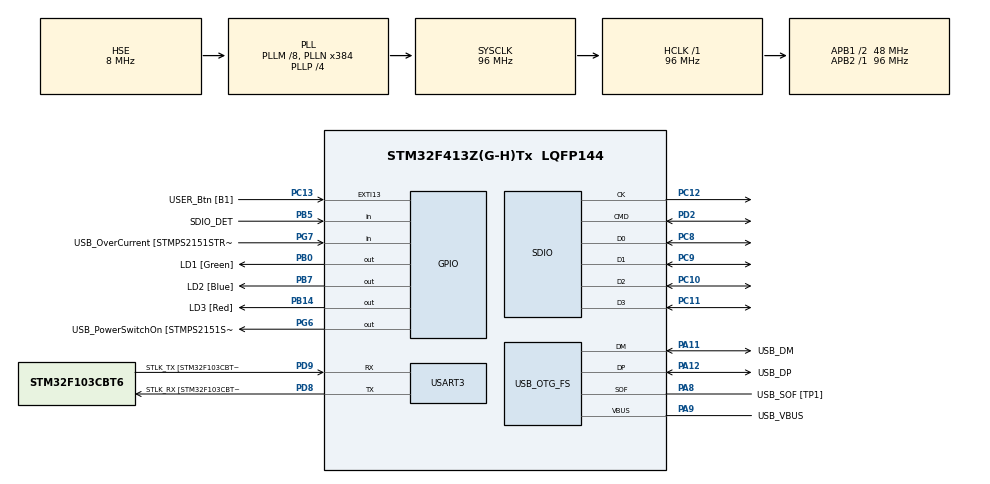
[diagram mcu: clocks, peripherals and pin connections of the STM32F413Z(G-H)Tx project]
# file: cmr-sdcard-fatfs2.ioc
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FATFS.BSP.number=1
FATFS._MAX_SS=4096
FATFS._USE_LFN=1
FATFS0.BSP.STBoard=false
FATFS0.BSP.api=Unknown
FATFS0.BSP.instance=PB5
FATFS0.BSP.ip=GPIO
FATFS0.BSP.mode=Input
FATFS0.BSP.name=Detect_SDIO
FATFS0.BSP.solution=PB5
Mcu.Family=STM32F4
Mcu.Name=STM32F413Z(G-H)Tx
Mcu.Package=LQFP144
NVIC.PriorityGroup=NVIC_PRIORITYGROUP_4
PA10.GPIO_Label=USB_ID
PA10.Signal=USB_OTG_FS_ID
PA11.GPIO_Label=USB_DM
PA11.Mode=Device_Only
PA11.Signal=USB_OTG_FS_DM
PA12.GPIO_Label=USB_DP
PA12.Mode=Device_Only
PA12.Signal=USB_OTG_FS_DP
PA13.GPIO_Label=TMS
PA13.Mode=Serial_Wire
PA13.Signal=SYS_JTMS-SWDIO
PA14.GPIO_Label=TCK
PA14.Mode=Serial_Wire
PA14.Signal=SYS_JTCK-SWCLK
PA8.GPIO_Label=USB_SOF [TP1]
PA8.Mode=Activate_SOF_FS
PA8.Signal=USB_OTG_FS_SOF
PA9.GPIO_Label=USB_VBUS
PA9.Mode=Activate_VBUS
PA9.Signal=USB_OTG_FS_VBUS
PB0.GPIO_Label=LD1 [Green]
PB0.Signal=GPIO_Output
PB14.GPIO_Label=LD3 [Red]
PB14.Signal=GPIO_Output
PB3.GPIO_Label=SWO
PB3.Signal=SYS_JTDO-SWO
PB5.GPIO_Label=SDIO_DET
PB5.GPIO_PuPd=GPIO_PULLDOWN
PB5.Signal=GPIO_Input
PB7.GPIO_Label=LD2 [Blue]
PB7.Signal=GPIO_Output
PC10.GPIO_PuPd=GPIO_PULLUP
PC10.Mode=SD_4_bits_Wide_bus
PC10.Signal=SDIO_D2
PC11.GPIO_PuPd=GPIO_PULLUP
PC11.Mode=SD_4_bits_Wide_bus
PC11.Signal=SDIO_D3
PC12.Mode=SD_4_bits_Wide_bus
PC12.Signal=SDIO_CK
PC13.GPIO_Label=USER_Btn [B1]
PC13.Signal=GPXTI13
PC14-OSC32_IN.Mode=LSE-External-Oscillator
PC14-OSC32_IN.Signal=RCC_OSC32_IN
PC15-OSC32_OUT.Mode=LSE-External-Oscillator
PC15-OSC32_OUT.Signal=RCC_OSC32_OUT
PC8.GPIO_PuPd=GPIO_PULLUP
PC8.Mode=SD_4_bits_Wide_bus
PC8.Signal=SDIO_D0
PC9.GPIO_PuPd=GPIO_PULLUP
PC9.Mode=SD_4_bits_Wide_bus
PC9.Signal=SDIO_D1
PD2.GPIO_PuPd=GPIO_PULLUP
PD2.Mode=SD_4_bits_Wide_bus
PD2.Signal=SDIO_CMD
PD8.GPIO_Label=STLK_RX [STM32F103CBT6_PA3]
PD8.Mode=Asynchronous
PD8.Signal=USART3_TX
PD9.GPIO_Label=STLK_TX [STM32F103CBT6_PA2]
PD9.Mode=Asynchronous
PD9.Signal=USART3_RX
PG6.GPIO_Label=USB_PowerSwitchOn [STMPS2151STR_EN]
PG6.Signal=GPIO_Output
PG7.GPIO_Label=USB_OverCurrent [STMPS2151STR_FAULT]
PG7.Signal=GPIO_Input
PH0\ -\ OSC_IN.GPIO_Label=MCO
PH0\ -\ OSC_IN.Mode=HSE-External-Clock-Source
PH0\ -\ OSC_IN.Signal=RCC_OSC_IN
PH1\ -\ OSC_OUT.Mode=HSE-External-Clock-Source
PH1\ -\ OSC_OUT.Signal=RCC_OSC_OUT
ProjectManager.HeapSize=0x800
ProjectManager.StackSize=0x800
ProjectManager.TargetToolchain=STM32CubeIDE
RCC.48MHZClocksFreq_Value=24000000
RCC.AHBFreq_Value=96000000
RCC.APB1CLKDivider=RCC_HCLK_DIV2
RCC.APB1Freq_Value=48000000
RCC.APB1TimFreq_Value=96000000
RCC.APB2Freq_Value=96000000
RCC.APB2TimFreq_Value=96000000
RCC.CortexFreq_Value=96000000
RCC.HCLKFreq_Value=96000000
RCC.HSE_VALUE=8000000
RCC.HSI_VALUE=16000000
RCC.PLLM=8
RCC.PLLMUL=RCC_PLL_MUL9
RCC.PLLN=384
RCC.PLLP=RCC_PLLP_DIV4
RCC.PLLQ=8
RCC.PRESCALERUSB=RCC_USBCLKSOURCE_PLL_DIV1_5
RCC.SYSCLKFreq_VALUE=96000000
RCC.SYSCLKSource=RCC_SYSCLKSOURCE_PLLCLK
RCC.SYSCLKSourceVirtual=RCC_SYSCLKSOURCE_PLLCLK
RCC.USBFreq_Value=48000000
RCC.VCOOutputFreq_Value=384000000
SDIO.ClockDiv=8
USART3.VirtualMode=VM_ASYNC
USB_OTG_FS.VirtualMode=Device_Only
VP_FATFS_VS_SDIO.Mode=SDIO
board=NUCLEO-F413ZH

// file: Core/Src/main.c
/* USER CODE BEGIN Header */
/**
  ******************************************************************************
  * @file           : main.c
  * @brief          : Main program body
  ******************************************************************************
  * @attention
  *
  * Copyright (c) 2025 STMicroelectronics.
  * All rights reserved.
  *
  * This software is licensed under terms that can be found in the LICENSE file
  * in the root directory of this software component.
  * If no LICENSE file comes with this software, it is provided AS-IS.
  *
  ******************************************************************************
  */
/* USER CODE END Header */
#include "main.h"
#include "fatfs.h"

/* USER CODE BEGIN Includes */
#include <stdio.h>
#include <string.h>
#include <cmr_sd_lib.h>
#include <cmr_sd_benchmark.h>
/* USER CODE END Includes */

SD_HandleTypeDef hsd;

UART_HandleTypeDef huart3;

PCD_HandleTypeDef hpcd_USB_OTG_FS;

/* USER CODE BEGIN PV */
uint32_t total_uptime;
/* USER CODE END PV */

void SystemClock_Config(void);
static void MX_GPIO_Init(void);
static void MX_USART3_UART_Init(void);
static void MX_USB_OTG_FS_PCD_Init(void);
static void MX_SDIO_SD_Init(void);

/* USER CODE BEGIN 0 */
int _write(int fd, char *ptr, int len) {
	HAL_StatusTypeDef hstatus;

	if (fd == 1 || fd == 2) {
		hstatus = HAL_UART_Transmit(&huart3, (uint8_t*) ptr, len, HAL_MAX_DELAY);
		if (hstatus == HAL_OK)
			return len;
		else
			return -1;
	}
	return -1;
}

uint8_t BSP_SD_IsDetected(void) {
	__IO uint8_t status = SD_PRESENT;

	return status;
}

FRESULT delete_all(const char *path) {
    FRESULT res;
    FILINFO fno;
    DIR dir;
    char full_path[256];

    res = f_opendir(&dir, path);  // Open directory
    if (res != FR_OK) return res;

    while (1) {
        res = f_readdir(&dir, &fno);  // Read next file
        if (res != FR_OK || fno.fname[0] == 0) break;  // End of dir
        if (fno.fname[0] == '.') continue;  // Skip . and ..

        // Construct full path
        snprintf(full_path, sizeof(full_path), "%s/%s", path, fno.fname);

        if (fno.fattrib & AM_DIR) {
            // It's a directory
            res = delete_all(full_path); // Recurse
            if (res != FR_OK) break;

            res = f_unlink(full_path); // Delete the directory
            if (res != FR_OK) break;
        } else {
            // It's a file
            res = f_unlink(full_path);
            if (res != FR_OK) break;
        }
    }

    f_closedir(&dir);
    return res;
}

/* USER CODE END 0 */

int main(void)
{

  /* MCU Configuration--------------------------------------------------------*/

  /* Reset of all peripherals, Initializes the Flash interface and the Systick. */
  HAL_Init();

  /* Configure the system clock */
  SystemClock_Config();

  /* Initialize all configured peripherals */
  MX_GPIO_Init();
  MX_USART3_UART_Init();
  MX_USB_OTG_FS_PCD_Init();
  MX_SDIO_SD_Init();
  MX_FATFS_Init();
  /* USER CODE BEGIN 2 */
  sd_mount();
  sd_list_files();

  sd_benchmark();

  /* USER CODE END 2 */

  /* Infinite loop */
  /* USER CODE BEGIN WHILE */
  uint32_t now = 0, loop_cnt = 0, next_blink = 500, next_tick = 1000;
  printf("===== START MAIN LOOP =====\r\n");
  while (1)
  {
	  now = uwTick;

	  if (now >= next_blink) {
		  HAL_GPIO_TogglePin(GPIOB, GPIO_PIN_7);
		  next_blink += 500;
	  }

	  if (now >= next_tick) {

		  ++total_uptime;

		   printf("ITER: TICK #%lu (LOOP_CNT = %lu, UPTIME = %lu)\r\n", now/1000, loop_cnt, total_uptime);

		   sd_write_file("uptime.dat", &total_uptime);

		  loop_cnt = 0;
		  next_tick += 1000;
	  }

	  ++loop_cnt;
    /* USER CODE END WHILE */

  }
}

void SystemClock_Config(void)
{
  RCC_OscInitTypeDef RCC_OscInitStruct = {0};
  RCC_ClkInitTypeDef RCC_ClkInitStruct = {0};

  /** Configure the main internal regulator output voltage
  */
  __HAL_RCC_PWR_CLK_ENABLE();
  __HAL_PWR_VOLTAGESCALING_CONFIG(PWR_REGULATOR_VOLTAGE_SCALE1);

  /** Initializes the RCC Oscillators according to the specified parameters
  * in the RCC_OscInitTypeDef structure.
  */
  RCC_OscInitStruct.OscillatorType = RCC_OSCILLATORTYPE_HSE;
  RCC_OscInitStruct.HSEState = RCC_HSE_BYPASS;
  RCC_OscInitStruct.PLL.PLLState = RCC_PLL_ON;
  RCC_OscInitStruct.PLL.PLLSource = RCC_PLLSOURCE_HSE;
  RCC_OscInitStruct.PLL.PLLM = 8;
  RCC_OscInitStruct.PLL.PLLN = 384;
  RCC_OscInitStruct.PLL.PLLP = RCC_PLLP_DIV4;
  RCC_OscInitStruct.PLL.PLLQ = 8;
  RCC_OscInitStruct.PLL.PLLR = 2;
  if (HAL_RCC_OscConfig(&RCC_OscInitStruct) != HAL_OK)
  {
    Error_Handler();
  }

  /** Initializes the CPU, AHB and APB buses clocks
  */
  RCC_ClkInitStruct.ClockType = RCC_CLOCKTYPE_HCLK|RCC_CLOCKTYPE_SYSCLK
                              |RCC_CLOCKTYPE_PCLK1|RCC_CLOCKTYPE_PCLK2;
  RCC_ClkInitStruct.SYSCLKSource = RCC_SYSCLKSOURCE_PLLCLK;
  RCC_ClkInitStruct.AHBCLKDivider = RCC_SYSCLK_DIV1;
  RCC_ClkInitStruct.APB1CLKDivider = RCC_HCLK_DIV2;
  RCC_ClkInitStruct.APB2CLKDivider = RCC_HCLK_DIV1;

  if (HAL_RCC_ClockConfig(&RCC_ClkInitStruct, FLASH_LATENCY_3) != HAL_OK)
  {
    Error_Handler();
  }
}

static void MX_SDIO_SD_Init(void)
{

  hsd.Instance = SDIO;
  hsd.Init.ClockEdge = SDIO_CLOCK_EDGE_RISING;
  hsd.Init.ClockBypass = SDIO_CLOCK_BYPASS_DISABLE;
  hsd.Init.ClockPowerSave = SDIO_CLOCK_POWER_SAVE_DISABLE;
  hsd.Init.BusWide = SDIO_BUS_WIDE_4B;
  hsd.Init.HardwareFlowControl = SDIO_HARDWARE_FLOW_CONTROL_DISABLE;
  hsd.Init.ClockDiv = 8;
  /* USER CODE BEGIN SDIO_Init 2 */
  printf("\r\n\r\n===== START SDIO INIT =====\r\n");
  hsd.Init.BusWide = SDIO_BUS_WIDE_1B;
  if (HAL_SD_Init(&hsd) != HAL_OK) {
	  printf("SDIO: ERROR. Couldn't init SDIO in 1B\r\n");
	  Error_Handler();
  }
  printf("SDIO: Successfully init SDIO in 1B\r\n");

  if (HAL_SD_ConfigWideBusOperation(&hsd, SDIO_BUS_WIDE_4B) != HAL_OK) {
	  printf("SDIO: ERROR. Couldn't init SDIO in 4B\r\n");
	  Error_Handler();
  }
  printf("SDIO: Successfully init SDIO in 4B\r\n");
  printf("====== END SDIO INIT ======\r\n");

  /* USER CODE END SDIO_Init 2 */

}

static void MX_USART3_UART_Init(void)
{

  huart3.Instance = USART3;
  huart3.Init.BaudRate = 115200;
  huart3.Init.WordLength = UART_WORDLENGTH_8B;
  huart3.Init.StopBits = UART_STOPBITS_1;
  huart3.Init.Parity = UART_PARITY_NONE;
  huart3.Init.Mode = UART_MODE_TX_RX;
  huart3.Init.HwFlowCtl = UART_HWCONTROL_NONE;
  huart3.Init.OverSampling = UART_OVERSAMPLING_16;
  if (HAL_UART_Init(&huart3) != HAL_OK)
  {
    Error_Handler();
  }

}

static void MX_USB_OTG_FS_PCD_Init(void)
{

  hpcd_USB_OTG_FS.Instance = USB_OTG_FS;
  hpcd_USB_OTG_FS.Init.dev_endpoints = 6;
  hpcd_USB_OTG_FS.Init.speed = PCD_SPEED_FULL;
  hpcd_USB_OTG_FS.Init.dma_enable = DISABLE;
  hpcd_USB_OTG_FS.Init.phy_itface = PCD_PHY_EMBEDDED;
  hpcd_USB_OTG_FS.Init.Sof_enable = ENABLE;
  hpcd_USB_OTG_FS.Init.low_power_enable = DISABLE;
  hpcd_USB_OTG_FS.Init.lpm_enable = DISABLE;
  hpcd_USB_OTG_FS.Init.battery_charging_enable = ENABLE;
  hpcd_USB_OTG_FS.Init.vbus_sensing_enable = ENABLE;
  hpcd_USB_OTG_FS.Init.use_dedicated_ep1 = DISABLE;
  if (HAL_PCD_Init(&hpcd_USB_OTG_FS) != HAL_OK)
  {
    Error_Handler();
  }

}

static void MX_GPIO_Init(void)
{
  GPIO_InitTypeDef GPIO_InitStruct = {0};

  /* GPIO Ports Clock Enable */
  __HAL_RCC_GPIOC_CLK_ENABLE();
  __HAL_RCC_GPIOH_CLK_ENABLE();
  __HAL_RCC_GPIOB_CLK_ENABLE();
  __HAL_RCC_GPIOD_CLK_ENABLE();
  __HAL_RCC_GPIOG_CLK_ENABLE();
  __HAL_RCC_GPIOA_CLK_ENABLE();

  /*Configure GPIO pin Output Level */
  HAL_GPIO_WritePin(GPIOB, LD1_Pin|LD3_Pin|LD2_Pin, GPIO_PIN_RESET);

  /*Configure GPIO pin Output Level */
  HAL_GPIO_WritePin(USB_PowerSwitchOn_GPIO_Port, USB_PowerSwitchOn_Pin, GPIO_PIN_RESET);

  /*Configure GPIO pin : USER_Btn_Pin */
  GPIO_InitStruct.Pin = USER_Btn_Pin;
  GPIO_InitStruct.Mode = GPIO_MODE_IT_RISING;
  GPIO_InitStruct.Pull = GPIO_NOPULL;
  HAL_GPIO_Init(USER_Btn_GPIO_Port, &GPIO_InitStruct);

  /*Configure GPIO pins : LD1_Pin LD3_Pin LD2_Pin */
  GPIO_InitStruct.Pin = LD1_Pin|LD3_Pin|LD2_Pin;
  GPIO_InitStruct.Mode = GPIO_MODE_OUTPUT_PP;
  GPIO_InitStruct.Pull = GPIO_NOPULL;
  GPIO_InitStruct.Speed = GPIO_SPEED_FREQ_LOW;
  HAL_GPIO_Init(GPIOB, &GPIO_InitStruct);

  /*Configure GPIO pin : USB_PowerSwitchOn_Pin */
  GPIO_InitStruct.Pin = USB_PowerSwitchOn_Pin;
  GPIO_InitStruct.Mode = GPIO_MODE_OUTPUT_PP;
  GPIO_InitStruct.Pull = GPIO_NOPULL;
  GPIO_InitStruct.Speed = GPIO_SPEED_FREQ_LOW;
  HAL_GPIO_Init(USB_PowerSwitchOn_GPIO_Port, &GPIO_InitStruct);

  /*Configure GPIO pin : USB_OverCurrent_Pin */
  GPIO_InitStruct.Pin = USB_OverCurrent_Pin;
  GPIO_InitStruct.Mode = GPIO_MODE_INPUT;
  GPIO_InitStruct.Pull = GPIO_NOPULL;
  HAL_GPIO_Init(USB_OverCurrent_GPIO_Port, &GPIO_InitStruct);

  /*Configure GPIO pin : SDIO_DET_Pin */
  GPIO_InitStruct.Pin = SDIO_DET_Pin;
  GPIO_InitStruct.Mode = GPIO_MODE_INPUT;
  GPIO_InitStruct.Pull = GPIO_PULLDOWN;
  HAL_GPIO_Init(SDIO_DET_GPIO_Port, &GPIO_InitStruct);

}

void Error_Handler(void)
{
  __disable_irq();
  while (1)
  {
  }
}
